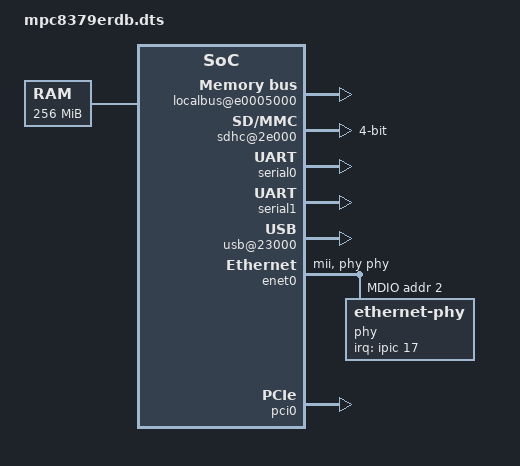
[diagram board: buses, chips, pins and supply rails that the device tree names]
// SPDX-License-Identifier: GPL-2.0+ OR X11
/*
 * MPC8379E RDB Device Tree Source
 *
 * Copyright 2020 NXP
 */

/dts-v1/;

/ {
	compatible = "fsl,mpc8379erdb";

	#address-cells = <1>;
	#size-cells = <1>;

	aliases {
		serial0 = &serial0;
		serial1 = &serial1;
	};

	cpus {
		#address-cells = <1>;
		#size-cells = <0>;

		PowerPC,8379@0 {
			device_type = "cpu";
			reg = <0x0>;
			d-cache-line-size = <32>;
			i-cache-line-size = <32>;
			d-cache-size = <32768>;
			i-cache-size = <32768>;
			timebase-frequency = <0>;
			bus-frequency = <0>;
			clock-frequency = <0>;
		};
	};

	memory {
		device_type = "memory";
		reg = <0x00000000 0x10000000>;  // 256MB at 0
	};

	localbus@e0005000 {
		#address-cells = <2>;
		#size-cells = <1>;
		compatible = "fsl,elbc", "simple-bus";
		reg = <0xe0005000 0x1000>;
		interrupts = <77 0x8>;
		interrupt-parent = <&ipic>;
	};

	immr@e0000000 {
		#address-cells = <1>;
		#size-cells = <1>;
		device_type = "soc";
		compatible = "simple-bus";
		ranges = <0 0xe0000000 0x00100000>;
		reg = <0xe0000000 0x00000200>;
		bus-frequency = <0>;

		sdhc@2e000 {
			compatible = "fsl,esdhc";
			reg = <0x2e000 0x1000>;
			bus-width = <0x4>;
			clock-frequency = <0>;
		};

		serial0: serial@4500 {
			cell-index = <0>;
			device_type = "serial";
			compatible = "fsl,ns16550", "ns16550";
			reg = <0x4500 0x100>;
			clock-frequency = <333333000>;
			interrupts = <9 0x8>;
			interrupt-parent = <&ipic>;
			bootph-all;
		};

		serial1: serial@4600 {
			cell-index = <1>;
			device_type = "serial";
			compatible = "fsl,ns16550", "ns16550";
			reg = <0x4600 0x100>;
			clock-frequency = <333333000>;
			interrupts = <10 0x8>;
			interrupt-parent = <&ipic>;
			bootph-all;
		};

		ipic: interrupt-controller@700 {
			compatible = "fsl,ipic";
			interrupt-controller;
			#address-cells = <0>;
			#interrupt-cells = <2>;
			reg = <0x700 0x100>;
			device_type = "ipic";
		};

		usb@23000 {
			compatible = "fsl-usb2-dr";
			reg = <0x23000 0x1000>;
			#address-cells = <1>;
			#size-cells = <0>;
			interrupt-parent = <&ipic>;
			interrupts = <38 0x8>;
			phy_type = "ulpi";
		};

		enet0: ethernet@24000 {
			#address-cells = <1>;
			#size-cells = <1>;
			cell-index = <0>;
			device_type = "network";
			model = "eTSEC";
			compatible = "fsl,etsec2";
			reg = <0x24000 0x1000>;
			ranges = <0x0 0x24000 0x1000>;
			local-mac-address = [ 00 00 00 00 00 00 ];
			interrupts = <32 0x8 33 0x8 34 0x8>;
			phy-connection-type = "mii";
			interrupt-parent = <&ipic>;
			fixed-link = <1 0 1000 0 0>;
			phy-handle = <&phy>;
			fsl,magic-packet;

			mdio@520 {
				#address-cells = <1>;
				#size-cells = <0>;
				compatible = "fsl,etsec2-mdio";
				reg = <0x520 0x20>;

				phy: ethernet-phy@2 {
					interrupt-parent = <&ipic>;
					interrupts = <17 0x8>;
					reg = <0x2>;
					device_type = "ethernet-phy";
				};
			};
		};

		pci0: pci@e0008300 {
	                #address-cells = <3>;
	                #size-cells = <2>;
	                #interrupt-cells = <1>;
	                device_type = "pci";
	                reg = <0x0 0xe0008300 0x0 0x00000fff>;
			compatible = "fsl,mpc837x-pci";
	                clock-frequency = <0>;
		};

	};

};
